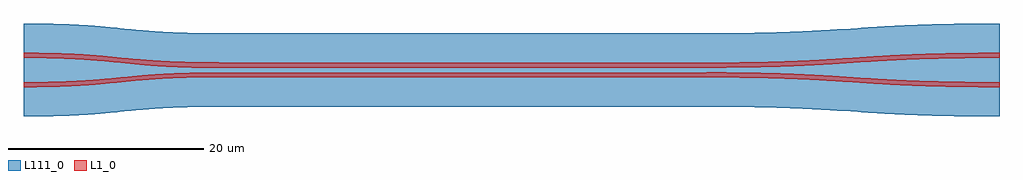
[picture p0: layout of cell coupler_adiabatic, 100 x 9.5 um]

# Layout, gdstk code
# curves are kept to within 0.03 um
import gdstk
lib = gdstk.Library(unit=1e-6, precision=1e-09)
def R(c, l, rs):  # rectangles x0, y0, x1, y1
    for r in rs: c.add(gdstk.rectangle(r[:2], r[2:], *l))
def P(c, l, *ps):  # polygons
    for p in ps: c.add(gdstk.Polygon(p, *l))
L1_0 = (1, 0)
L111_0 = (111, 0)

coupler_adiabatic = lib.new_cell('coupler_adiabatic')
P(coupler_adiabatic, L1_0, [(0,0.25),(2.764,0.224),(5.503,0.125),(7.73,-0.026),(13.37,-0.531),(17.834,-0.71),(17.825,-1.256),(13.472,-1.075),(7.559,-0.531),(5.476,-0.386),(2.753,-0.281),(0,-0.25)],
  [(17.834,-0.71),(20,-0.725),(20,-1.275),(17.825,-1.256)],
  [(0,-2.75),(2.943,-2.72),(5.776,-2.609),(13.475,-1.961),(17.826,-1.79),(17.834,-2.244),(13.506,-2.424),(7.855,-2.946),(5.349,-3.122),(2.764,-3.219),(0,-3.25)],
  [(17.826,-1.79),(20,-1.775),(20,-2.225),(17.834,-2.244)],
  [(20,-0.725),(20,-1.275),(70,-1.25),(70,-0.75)],
  [(20,-1.775),(20,-2.225),(70,-2.25),(70,-1.75)],
  [(70,-0.75),(74.838,-0.71),(78.675,-0.603),(90.865,0.085),(90.886,-0.415),(80.19,-1.038),(74.427,-1.217),(70,-1.25)],
  [(90.865,0.085),(95.153,0.21),(100,0.25),(100,-0.25),(95.162,-0.29),(90.886,-0.415)],
  [(70,-1.75),(74.847,-1.79),(78.916,-1.906),(90.886,-2.585),(90.865,-3.085),(78.675,-2.397),(74.838,-2.29),(70,-2.25)],
  [(90.886,-2.585),(95.162,-2.71),(100,-2.75),(100,-3.25),(95.153,-3.21),(90.865,-3.085)])
R(coupler_adiabatic, L111_0, [(20,-5.25,70,1.25), (20,-4.25,70,2.25)])
P(coupler_adiabatic, L111_0, [(0.001,3.25),(3.027,3.216),(5.665,3.115),(8.111,2.944),(13.578,2.444),(17.884,2.267),(17.775,-4.232),(13.271,-4.05),(7.314,-3.512),(5.459,-3.384),(2.87,-3.282),(-0.001,-3.25)],
  [(17.884,2.267),(20.001,2.25),(19.999,-4.25),(17.775,-4.232)],
  [(-0.001,0.25),(2.87,0.282),(5.459,0.384),(7.314,0.512),(13.271,1.05),(17.775,1.232),(17.884,-5.267),(13.578,-5.444),(8.111,-5.944),(5.665,-6.115),(3.027,-6.216),(0.001,-6.25)],
  [(17.775,1.232),(19.999,1.25),(20.001,-5.25),(17.884,-5.267)],
  [(70,2.25),(70,-4.25),(70,-4.25),(70,2.25)],
  [(70,1.25),(70,-5.25),(70,-5.25),(70,1.25)],
  [(70,2.25),(74.647,2.287),(78.99,2.412),(90.741,3.082),(91.01,-3.412),(78.811,-4.1),(74.76,-4.212),(70,-4.25)],
  [(90.741,3.082),(95.24,3.212),(100,3.25),(100,-3.25),(95.353,-3.287),(91.01,-3.412)],
  [(70,1.25),(74.76,1.212),(78.811,1.1),(91.01,0.412),(90.741,-6.082),(78.99,-5.412),(74.647,-5.287),(70,-5.25)],
  [(91.01,0.412),(95.353,0.287),(100,0.25),(100,-6.25),(95.24,-6.212),(90.741,-6.082)])

lib.write_gds('coupler_adiabatic.gds')
